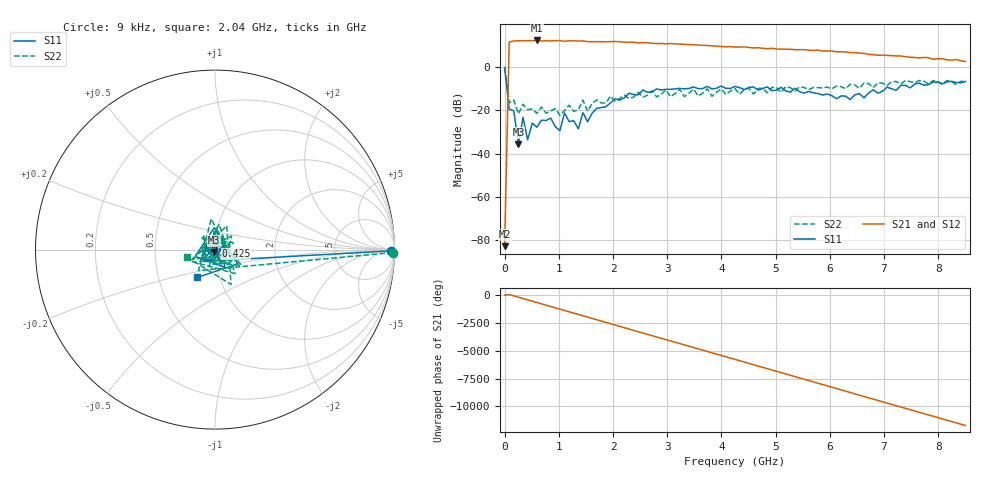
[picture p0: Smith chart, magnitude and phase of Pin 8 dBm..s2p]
! RsaToolbox (C) 2013 Rohde & Schwarz America
! Number of points: 101
! Number of ports: 2
! Balanced ports?: 0
# Hz S RI R 50
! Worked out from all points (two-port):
!   101 points, 9 kHz to 8.5 GHz, reference 50 ohm
!   highest |S21| = 12.33 dB at 595 MHz (marker M1); lowest = -82.8 dB at 9 kHz (marker M2)
!   |S21| within 3 dB of the highest: 83.03 MHz to 4.225 GHz (4.142 GHz wide, 192 % of centre); 4.377 GHz to 4.433 GHz (56.4 MHz wide, 1.28 % of centre)
!   lowest |S11| = -35.7 dB at 255 MHz (marker M3), VSWR 1.03, Z = 49.6 - j1.58 ohm
!   |S11| at or under -10 dB: 43.33 MHz to 3.172 GHz (3.129 GHz wide, 195 % of centre); 4.886 GHz to 5.058 GHz (172.2 MHz wide, 3.46 % of centre); 5.366 GHz to 7.023 GHz (1.657 GHz wide, 26.7 % of centre) (the widest 3 of 9)
!   |S22| runs from -22.3 to -0.1 dB; largest |S21 - S12| = 0
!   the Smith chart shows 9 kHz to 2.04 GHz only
!   S11 on the Smith chart (normalised r, x): 9 kHz: 86, -30; 425 MHz: 1.01, +0.04; 2.04 GHz: 0.78, -0.25
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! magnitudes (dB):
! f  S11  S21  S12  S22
! 9 kHz  -0.2  -82.8  -82.8  -0.1
! 85.01 MHz  -19.4  11.5  11.5  -16.5
! 170 MHz  -20.3  12.1  12.1  -15.2
! 255 MHz  -35.7  12.2  12.2  -21.7
! 340 MHz  -23.2  12.2  12.2  -17.2
! 425 MHz  -33.6  12.2  12.2  -19.6
! 510 MHz  -25.9  12.2  12.2  -19.4
! 595 MHz  -27.8  12.3  12.3  -21.4
! 850 MHz  -23.5  12.1  12.1  -20.2
! 1.02 GHz  -29.4  12.3  12.3  -22.3
! 1.105 GHz  -21.2  11.9  11.9  -20.1
! 1.36 GHz  -28.6  12.1  12.1  -19.8
! 1.445 GHz  -21.1  12.2  12.2  -15.3
! 1.53 GHz  -25.3  11.8  11.8  -20.4
! 1.7 GHz  -19.0  11.8  11.8  -15.2
! 2.04 GHz  -14.7  11.8  11.8  -15.8
! 2.89 GHz  -10.6  10.9  10.9  -12.6
! 4.25 GHz  -8.9  9.3  9.3  -9.9
! 5.695 GHz  -11.9  7.7  7.7  -9.4
! 6.375 GHz  -15.0  6.7  6.7  -8.0
! 7.14 GHz  -10.1  5.3  5.3  -6.7
! 8.5 GHz  -6.7  2.6  2.6  -6.7
